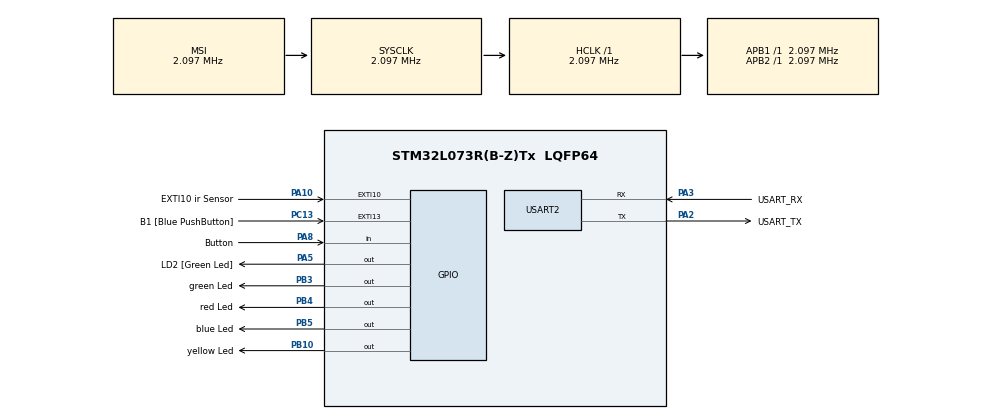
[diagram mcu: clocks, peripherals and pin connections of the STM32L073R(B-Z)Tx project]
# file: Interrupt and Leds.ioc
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Mcu.Family=STM32L0
Mcu.Name=STM32L073R(B-Z)Tx
Mcu.Package=LQFP64
NVIC.EXTI4_15_IRQn=true\:1\:0\:true\:false\:true\:true\:true
PA10.GPIO_Label=EXTI10 ir Sensor
PA10.Signal=GPXTI10
PA13.GPIO_Label=TMS
PA13.Mode=Serial_Wire
PA13.Signal=SYS_SWDIO
PA14.GPIO_Label=TCK
PA14.Mode=Serial_Wire
PA14.Signal=SYS_SWCLK
PA2.GPIO_Label=USART_TX
PA2.Mode=Asynchronous
PA2.Signal=USART2_TX
PA3.GPIO_Label=USART_RX
PA3.Mode=Asynchronous
PA3.Signal=USART2_RX
PA5.GPIO_Label=LD2 [Green Led]
PA5.Signal=GPIO_Output
PA8.GPIO_Label=Button
PA8.GPIO_PuPd=GPIO_PULLDOWN
PA8.Signal=GPIO_Input
PB10.GPIO_Label=yellow Led
PB10.Signal=GPIO_Output
PB3.GPIO_Label=green Led
PB3.Signal=GPIO_Output
PB4.GPIO_Label=red Led
PB4.Signal=GPIO_Output
PB5.GPIO_Label=blue Led
PB5.Signal=GPIO_Output
PC13.GPIO_Label=B1 [Blue PushButton]
PC13.GPIO_ModeDefaultEXTI=GPIO_MODE_IT_FALLING
PC13.Signal=GPXTI13
PC14-OSC32_IN.Mode=LSE-External-Oscillator
PC14-OSC32_IN.Signal=RCC_OSC32_IN
PC15-OSC32_OUT.Mode=LSE-External-Oscillator
PC15-OSC32_OUT.Signal=RCC_OSC32_OUT
PH0-OSC_IN.GPIO_Label=MCO
PH0-OSC_IN.Mode=HSE-External-Clock-Source
PH0-OSC_IN.Signal=RCC_OSC_IN
ProjectManager.HeapSize=0x200
ProjectManager.StackSize=0x400
ProjectManager.TargetToolchain=MDK-ARM V4
RCC.AHBFreq_Value=2097000
RCC.APB1Freq_Value=2097000
RCC.APB1TimFreq_Value=2097000
RCC.APB2Freq_Value=2097000
RCC.APB2TimFreq_Value=2097000
RCC.HSE_VALUE=8000000
RCC.HSI16_VALUE=16000000
RCC.HSI48_VALUE=48000000
RCC.HSI_VALUE=16000000
RCC.MSI_VALUE=2097000
RCC.SYSCLKFreq_VALUE=2097000
RCC.VCOOutputFreq_Value=48000000
USART2.VirtualMode-Asynchronous=VM_ASYNC
board=NUCLEO-L073RZ

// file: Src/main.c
/* USER CODE BEGIN Header */
/**
  ******************************************************************************
  * @file           : main.c
  * @brief          : Main program body
  ******************************************************************************
  * @attention
  *
  * <h2><center>&copy; Copyright (c) 2022 STMicroelectronics.
  * All rights reserved.</center></h2>
  *
  * This software component is licensed by ST under BSD 3-Clause license,
  * the "License"; You may not use this file except in compliance with the
  * License. You may obtain a copy of the License at:
  *                        opensource.org/licenses/BSD-3-Clause
  *
  ******************************************************************************
  */
/* USER CODE END Header */

#include "main.h"

UART_HandleTypeDef huart2;

/* USER CODE BEGIN PV */
uint8_t button_high = 0;
/* USER CODE END PV */

void SystemClock_Config(void);
static void MX_GPIO_Init(void);
static void MX_USART2_UART_Init(void);
/* USER CODE BEGIN PFP */
uint8_t Button_Has_Been_Pressed(void);
/* USER CODE END PFP */

int main(void)
{

  /* MCU Configuration--------------------------------------------------------*/

  /* Reset of all peripherals, Initializes the Flash interface and the Systick. */
  HAL_Init();

  /* Configure the system clock */
  SystemClock_Config();

  /* Initialize all configured peripherals */
  MX_GPIO_Init();
  MX_USART2_UART_Init();

  /* Infinite loop */
  while (1)
  {

    /* USER CODE BEGIN 3 */
     HAL_GPIO_TogglePin(GPIOB, yellow_Led_Pin | red_Led_Pin, TURN_ON);
     	if(Button_Has_Been_Pressed){
    	   button_high = 1;

       	   while(button_high){
    	 	   HAL_GPIO_WritePin(GPIOB, green_Led_Pin, TURN_OFF);
    		   HAL_GPIO_WritePin(GPIOB, blue_Led_Pin, TURN_ON);
    		   HAL_Delay(400);
    		   HAL_GPIO_WritePin(GPIOB, green_Led_Pin, TURN_ON);
    		   HAL_GPIO_WritePin(GPIOB, blue_Led_Pin, TURN_OFF);
    		   HAL_Delay(400);
       	    }
    	} else {
        	button_high = 0;
    		HAL_GPIO_WritePin(GPIOB, yellow_Led_Pin | red_Led_Pin | blue_Led_Pin | green_Led_Pin, TURN_OFF);
    	}
   }
  /* USER CODE END 3 */
}

void SystemClock_Config(void)
{
  RCC_OscInitTypeDef RCC_OscInitStruct = {0};
  RCC_ClkInitTypeDef RCC_ClkInitStruct = {0};
  RCC_PeriphCLKInitTypeDef PeriphClkInit = {0};

  /** Configure the main internal regulator output voltage
  */
  __HAL_PWR_VOLTAGESCALING_CONFIG(PWR_REGULATOR_VOLTAGE_SCALE1);
  /** Initializes the CPU, AHB and APB busses clocks
  */
  RCC_OscInitStruct.OscillatorType = RCC_OSCILLATORTYPE_MSI;
  RCC_OscInitStruct.MSIState = RCC_MSI_ON;
  RCC_OscInitStruct.MSICalibrationValue = 0;
  RCC_OscInitStruct.MSIClockRange = RCC_MSIRANGE_5;
  RCC_OscInitStruct.PLL.PLLState = RCC_PLL_NONE;
  if (HAL_RCC_OscConfig(&RCC_OscInitStruct) != HAL_OK)
  {
    Error_Handler();
  }
  /** Initializes the CPU, AHB and APB busses clocks
  */
  RCC_ClkInitStruct.ClockType = RCC_CLOCKTYPE_HCLK|RCC_CLOCKTYPE_SYSCLK
                              |RCC_CLOCKTYPE_PCLK1|RCC_CLOCKTYPE_PCLK2;
  RCC_ClkInitStruct.SYSCLKSource = RCC_SYSCLKSOURCE_MSI;
  RCC_ClkInitStruct.AHBCLKDivider = RCC_SYSCLK_DIV1;
  RCC_ClkInitStruct.APB1CLKDivider = RCC_HCLK_DIV1;
  RCC_ClkInitStruct.APB2CLKDivider = RCC_HCLK_DIV1;

  if (HAL_RCC_ClockConfig(&RCC_ClkInitStruct, FLASH_LATENCY_0) != HAL_OK)
  {
    Error_Handler();
  }
  PeriphClkInit.PeriphClockSelection = RCC_PERIPHCLK_USART2;
  PeriphClkInit.Usart2ClockSelection = RCC_USART2CLKSOURCE_PCLK1;
  if (HAL_RCCEx_PeriphCLKConfig(&PeriphClkInit) != HAL_OK)
  {
    Error_Handler();
  }

  HAL_SYSTICK_Config(HAL_RCC_GetHCLKFreq() /1000);
  HAL_SYSTICK_CLKSourceConfig(SYSTICK_CLKSOURCE_HCLK);
  HAL_NVIC_SetPriority(SysTick_IRQn, 0, 0);
}

static void MX_USART2_UART_Init(void)
{

  huart2.Instance = USART2;
  huart2.Init.BaudRate = 115200;
  huart2.Init.WordLength = UART_WORDLENGTH_8B;
  huart2.Init.StopBits = UART_STOPBITS_1;
  huart2.Init.Parity = UART_PARITY_NONE;
  huart2.Init.Mode = UART_MODE_TX_RX;
  huart2.Init.HwFlowCtl = UART_HWCONTROL_NONE;
  huart2.Init.OverSampling = UART_OVERSAMPLING_16;
  huart2.Init.OneBitSampling = UART_ONE_BIT_SAMPLE_DISABLE;
  huart2.AdvancedInit.AdvFeatureInit = UART_ADVFEATURE_NO_INIT;
  if (HAL_UART_Init(&huart2) != HAL_OK)
  {
    Error_Handler();
  }

}

static void MX_GPIO_Init(void)
{
  GPIO_InitTypeDef GPIO_InitStruct;
  __HAL_RCC_GPIOC_CLK_ENABLE();
  __HAL_RCC_GPIOH_CLK_ENABLE();
  __HAL_RCC_GPIOA_CLK_ENABLE();
  __HAL_RCC_GPIOB_CLK_ENABLE();

  /*Configure GPIO pin Output Level */
  HAL_GPIO_WritePin(LD2_GPIO_Port, LD2_Pin, GPIO_PIN_RESET);

  /*Configure GPIO pin Output Level */
  HAL_GPIO_WritePin(GPIOB, yellow_Led_Pin|green_Led_Pin|red_Led_Pin|blue_Led_Pin, GPIO_PIN_RESET);

  /*Configure GPIO pin : B1_Pin */
  GPIO_InitStruct.Pin = B1_Pin;
  GPIO_InitStruct.Mode = GPIO_MODE_IT_FALLING;
  GPIO_InitStruct.Pull = GPIO_NOPULL;
  HAL_GPIO_Init(B1_GPIO_Port, &GPIO_InitStruct);

  /*Configure GPIO pin : LD2_Pin */
  GPIO_InitStruct.Pin = LD2_Pin;
  GPIO_InitStruct.Mode = GPIO_MODE_OUTPUT_PP;
  GPIO_InitStruct.Pull = GPIO_NOPULL;
  GPIO_InitStruct.Speed = GPIO_SPEED_FREQ_LOW;
  HAL_GPIO_Init(LD2_GPIO_Port, &GPIO_InitStruct);

  /*Configure GPIO pins : yellow_Led_Pin green_Led_Pin red_Led_Pin blue_Led_Pin */
  GPIO_InitStruct.Pin = yellow_Led_Pin|green_Led_Pin|red_Led_Pin|blue_Led_Pin;
  GPIO_InitStruct.Mode = GPIO_MODE_OUTPUT_PP;
  GPIO_InitStruct.Pull = GPIO_NOPULL;
  GPIO_InitStruct.Speed = GPIO_SPEED_FREQ_LOW;
  HAL_GPIO_Init(GPIOB, &GPIO_InitStruct);

  /*Configure GPIO pin : Button_Pin */
  GPIO_InitStruct.Pin = Button_Pin;
  GPIO_InitStruct.Mode = GPIO_MODE_INPUT;
  GPIO_InitStruct.Pull = GPIO_PULLDOWN;
  HAL_GPIO_Init(Button_GPIO_Port, &GPIO_InitStruct);

  /*Configure GPIO pin : EXTI10_ir_Sensor_Pin */
  GPIO_InitStruct.Pin = EXTI10_ir_Sensor_Pin;
  GPIO_InitStruct.Mode = GPIO_MODE_IT_RISING;
  GPIO_InitStruct.Pull = GPIO_NOPULL;
  HAL_GPIO_Init(EXTI10_ir_Sensor_GPIO_Port, &GPIO_InitStruct);

  /* EXTI interrupt init*/
  HAL_NVIC_SetPriority(EXTI4_15_IRQn, 1, 0);
  HAL_NVIC_EnableIRQ(EXTI4_15_IRQn);

}

/* USER CODE BEGIN 4 */
uint8_t Button_Has_Been_Pressed(void)
{
	if(HAL_GPIO_ReadPin(Button_GPIO_Port, Button_Pin) == TURNED_ON)
	{
		return 1;
	} else {
		return 0;
	}
}
/* USER CODE END 4 */

void Error_Handler(void)
{
}

/************************ (C) COPYRIGHT STMicroelectronics *****END OF FILE****/
